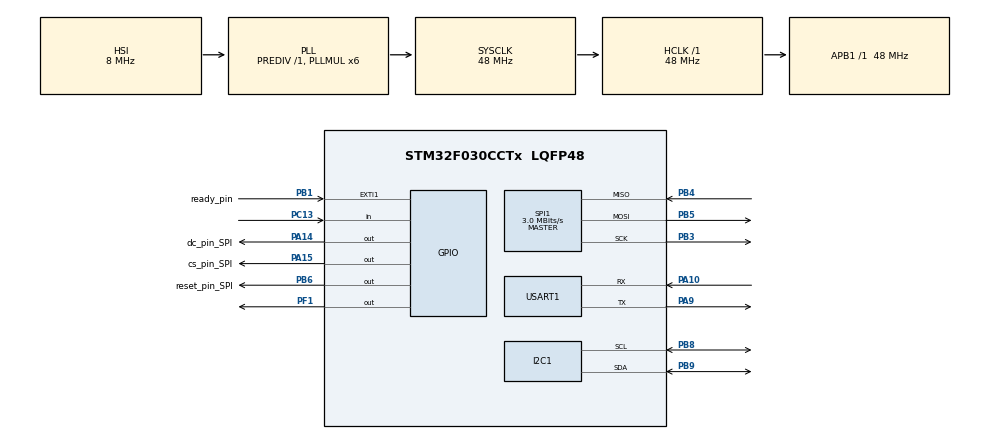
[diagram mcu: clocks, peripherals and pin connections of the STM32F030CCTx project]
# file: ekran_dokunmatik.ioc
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I2C1.Timing=0x00201D2B
Mcu.Family=STM32F0
Mcu.Name=STM32F030CCTx
Mcu.Package=LQFP48
PA10.Mode=Asynchronous
PA10.Signal=USART1_RX
PA14.GPIO_Label=dc_pin_SPI
PA14.Signal=GPIO_Output
PA15.GPIO_Label=cs_pin_SPI
PA15.GPIO_PuPd=GPIO_PULLUP
PA15.Signal=GPIO_Output
PA9.Mode=Asynchronous
PA9.Signal=USART1_TX
PB1.GPIO_Label=ready_pin
PB1.GPIO_ModeDefaultEXTI=GPIO_MODE_IT_FALLING
PB1.GPIO_PuPd=GPIO_PULLUP
PB1.Signal=GPXTI1
PB3.Mode=Full_Duplex_Master
PB3.Signal=SPI1_SCK
PB4.Mode=Full_Duplex_Master
PB4.Signal=SPI1_MISO
PB5.Mode=Full_Duplex_Master
PB5.Signal=SPI1_MOSI
PB6.GPIO_Label=reset_pin_SPI
PB6.GPIO_PuPd=GPIO_PULLUP
PB6.Signal=GPIO_Output
PB8.GPIO_Pu=GPIO_PULLUP
PB8.Mode=I2C
PB8.Signal=I2C1_SCL
PB9.GPIO_Pu=GPIO_PULLUP
PB9.Mode=I2C
PB9.Signal=I2C1_SDA
PC13.GPIO_PuPd=GPIO_PULLUP
PC13.Signal=GPIO_Input
PF1-OSC_OUT.GPIO_PuPd=GPIO_PULLUP
PF1-OSC_OUT.Signal=GPIO_Output
ProjectManager.HeapSize=0x200
ProjectManager.StackSize=0x400
ProjectManager.TargetToolchain=STM32CubeIDE
RCC.AHBFreq_Value=48000000
RCC.APB1Freq_Value=48000000
RCC.APB1TimFreq_Value=48000000
RCC.HCLKFreq_Value=48000000
RCC.PLLMUL=RCC_PLL_MUL6
RCC.SYSCLKFreq_VALUE=48000000
RCC.SYSCLKSource=RCC_SYSCLKSOURCE_PLLCLK
SPI1.BaudRatePrescaler=SPI_BAUDRATEPRESCALER_16
SPI1.CalculateBaudRate=3.0 MBits/s
SPI1.Direction=SPI_DIRECTION_2LINES
SPI1.Mode=SPI_MODE_MASTER
SPI1.VirtualType=VM_MASTER
USART1.VirtualMode-Asynchronous=VM_ASYNC
board=custom

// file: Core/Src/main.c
/* USER CODE BEGIN Header */
/**
  ******************************************************************************
  * @file           : main.c
  * @brief          : Main program body
  ******************************************************************************
  * @attention
  *
  * Copyright (c) 2025 STMicroelectronics.
  * All rights reserved.
  *
  * This software is licensed under terms that can be found in the LICENSE file
  * in the root directory of this software component.
  * If no LICENSE file comes with this software, it is provided AS-IS.
  *
  ******************************************************************************
  */
/* USER CODE END Header */
#include "main.h"

/* USER CODE BEGIN Includes */
#include <string.h>
#include "ST7735.h"
#include "IQS7222A.h"
#include "menu.h"

/* USER CODE END Includes */

/* USER CODE BEGIN PTD */
extern I2C_HandleTypeDef hi2c1;
extern SPI_HandleTypeDef hspi1;
extern UART_HandleTypeDef huart1;
/* USER CODE END PTD */

/* USER CODE BEGIN PD */

//#define RST_PORT GPIOB
//#define RST_PIN  GPIO_PIN_13

/* USER CODE END PD */

I2C_HandleTypeDef hi2c1;

SPI_HandleTypeDef hspi1;

UART_HandleTypeDef huart1;

void SystemClock_Config(void);
static void MX_GPIO_Init(void);
static void MX_SPI1_Init(void);
static void MX_USART1_UART_Init(void);
static void MX_I2C1_Init(void);

int main(void)
{

  /* MCU Configuration--------------------------------------------------------*/

  /* Reset of all peripherals, Initializes the Flash interface and the Systick. */
  HAL_Init();

  /* Configure the system clock */
  SystemClock_Config();

  /* Initialize all configured peripherals */
  MX_GPIO_Init();
  MX_SPI1_Init();
  MX_USART1_UART_Init();
  MX_I2C1_Init();
  /* USER CODE BEGIN 2 */

  ST7735_Init(1);

  IQS7222A_begin(0x44, GPIOB, GPIO_PIN_1);

  drawMenu(0);

  /* USER CODE END 2 */

  /* Infinite loop */
  /* USER CODE BEGIN WHILE */
  while (1)
  {

	  IQS7222A_run();

	  if(iqs7222a.new_data_available)
	  {
		  checkTouch();
	      iqs7222a.new_data_available = false;

	  }

  }

    /* USER CODE END WHILE */

}

void SystemClock_Config(void)
{
  RCC_OscInitTypeDef RCC_OscInitStruct = {0};
  RCC_ClkInitTypeDef RCC_ClkInitStruct = {0};
  RCC_PeriphCLKInitTypeDef PeriphClkInit = {0};

  /** Initializes the RCC Oscillators according to the specified parameters
  * in the RCC_OscInitTypeDef structure.
  */
  RCC_OscInitStruct.OscillatorType = RCC_OSCILLATORTYPE_HSI;
  RCC_OscInitStruct.HSIState = RCC_HSI_ON;
  RCC_OscInitStruct.HSICalibrationValue = RCC_HSICALIBRATION_DEFAULT;
  RCC_OscInitStruct.PLL.PLLState = RCC_PLL_ON;
  RCC_OscInitStruct.PLL.PLLSource = RCC_PLLSOURCE_HSI;
  RCC_OscInitStruct.PLL.PLLMUL = RCC_PLL_MUL6;
  RCC_OscInitStruct.PLL.PREDIV = RCC_PREDIV_DIV1;
  if (HAL_RCC_OscConfig(&RCC_OscInitStruct) != HAL_OK)
  {
    Error_Handler();
  }

  /** Initializes the CPU, AHB and APB buses clocks
  */
  RCC_ClkInitStruct.ClockType = RCC_CLOCKTYPE_HCLK|RCC_CLOCKTYPE_SYSCLK
                              |RCC_CLOCKTYPE_PCLK1;
  RCC_ClkInitStruct.SYSCLKSource = RCC_SYSCLKSOURCE_PLLCLK;
  RCC_ClkInitStruct.AHBCLKDivider = RCC_SYSCLK_DIV1;
  RCC_ClkInitStruct.APB1CLKDivider = RCC_HCLK_DIV1;

  if (HAL_RCC_ClockConfig(&RCC_ClkInitStruct, FLASH_LATENCY_1) != HAL_OK)
  {
    Error_Handler();
  }
  PeriphClkInit.PeriphClockSelection = RCC_PERIPHCLK_USART1|RCC_PERIPHCLK_I2C1;
  PeriphClkInit.Usart1ClockSelection = RCC_USART1CLKSOURCE_PCLK1;
  PeriphClkInit.I2c1ClockSelection = RCC_I2C1CLKSOURCE_HSI;
  if (HAL_RCCEx_PeriphCLKConfig(&PeriphClkInit) != HAL_OK)
  {
    Error_Handler();
  }
}

static void MX_I2C1_Init(void)
{

  hi2c1.Instance = I2C1;
  hi2c1.Init.Timing = 0x00201D2B;
  hi2c1.Init.OwnAddress1 = 0;
  hi2c1.Init.AddressingMode = I2C_ADDRESSINGMODE_7BIT;
  hi2c1.Init.DualAddressMode = I2C_DUALADDRESS_DISABLE;
  hi2c1.Init.OwnAddress2 = 0;
  hi2c1.Init.OwnAddress2Masks = I2C_OA2_NOMASK;
  hi2c1.Init.GeneralCallMode = I2C_GENERALCALL_DISABLE;
  hi2c1.Init.NoStretchMode = I2C_NOSTRETCH_DISABLE;
  if (HAL_I2C_Init(&hi2c1) != HAL_OK)
  {
    Error_Handler();
  }

  /** Configure Analogue filter
  */
  if (HAL_I2CEx_ConfigAnalogFilter(&hi2c1, I2C_ANALOGFILTER_ENABLE) != HAL_OK)
  {
    Error_Handler();
  }

  /** Configure Digital filter
  */
  if (HAL_I2CEx_ConfigDigitalFilter(&hi2c1, 0) != HAL_OK)
  {
    Error_Handler();
  }

}

static void MX_SPI1_Init(void)
{

  /* SPI1 parameter configuration*/
  hspi1.Instance = SPI1;
  hspi1.Init.Mode = SPI_MODE_MASTER;
  hspi1.Init.Direction = SPI_DIRECTION_2LINES;
  hspi1.Init.DataSize = SPI_DATASIZE_4BIT;
  hspi1.Init.CLKPolarity = SPI_POLARITY_LOW;
  hspi1.Init.CLKPhase = SPI_PHASE_1EDGE;
  hspi1.Init.NSS = SPI_NSS_SOFT;
  hspi1.Init.BaudRatePrescaler = SPI_BAUDRATEPRESCALER_16;
  hspi1.Init.FirstBit = SPI_FIRSTBIT_MSB;
  hspi1.Init.TIMode = SPI_TIMODE_DISABLE;
  hspi1.Init.CRCCalculation = SPI_CRCCALCULATION_DISABLE;
  hspi1.Init.CRCPolynomial = 7;
  hspi1.Init.CRCLength = SPI_CRC_LENGTH_DATASIZE;
  hspi1.Init.NSSPMode = SPI_NSS_PULSE_ENABLE;
  if (HAL_SPI_Init(&hspi1) != HAL_OK)
  {
    Error_Handler();
  }

}

static void MX_USART1_UART_Init(void)
{

  huart1.Instance = USART1;
  huart1.Init.BaudRate = 115200;
  huart1.Init.WordLength = UART_WORDLENGTH_8B;
  huart1.Init.StopBits = UART_STOPBITS_1;
  huart1.Init.Parity = UART_PARITY_NONE;
  huart1.Init.Mode = UART_MODE_TX_RX;
  huart1.Init.HwFlowCtl = UART_HWCONTROL_NONE;
  huart1.Init.OverSampling = UART_OVERSAMPLING_16;
  huart1.Init.OneBitSampling = UART_ONE_BIT_SAMPLE_DISABLE;
  huart1.AdvancedInit.AdvFeatureInit = UART_ADVFEATURE_NO_INIT;
  if (HAL_UART_Init(&huart1) != HAL_OK)
  {
    Error_Handler();
  }

}

static void MX_GPIO_Init(void)
{
  GPIO_InitTypeDef GPIO_InitStruct = {0};

  /* GPIO Ports Clock Enable */
  __HAL_RCC_GPIOC_CLK_ENABLE();
  __HAL_RCC_GPIOF_CLK_ENABLE();
  __HAL_RCC_GPIOB_CLK_ENABLE();
  __HAL_RCC_GPIOA_CLK_ENABLE();

  /*Configure GPIO pin Output Level */
  HAL_GPIO_WritePin(GPIOF, GPIO_PIN_1, GPIO_PIN_RESET);

  /*Configure GPIO pin Output Level */
  HAL_GPIO_WritePin(GPIOA, dc_pin_SPI_Pin|cs_pin_SPI_Pin, GPIO_PIN_RESET);

  /*Configure GPIO pin Output Level */
  HAL_GPIO_WritePin(reset_pin_SPI_GPIO_Port, reset_pin_SPI_Pin, GPIO_PIN_RESET);

  /*Configure GPIO pin : PC13 */
  GPIO_InitStruct.Pin = GPIO_PIN_13;
  GPIO_InitStruct.Mode = GPIO_MODE_INPUT;
  GPIO_InitStruct.Pull = GPIO_PULLUP;
  HAL_GPIO_Init(GPIOC, &GPIO_InitStruct);

  /*Configure GPIO pin : PF1 */
  GPIO_InitStruct.Pin = GPIO_PIN_1;
  GPIO_InitStruct.Mode = GPIO_MODE_OUTPUT_PP;
  GPIO_InitStruct.Pull = GPIO_PULLUP;
  GPIO_InitStruct.Speed = GPIO_SPEED_FREQ_LOW;
  HAL_GPIO_Init(GPIOF, &GPIO_InitStruct);

  /*Configure GPIO pin : ready_pin_Pin */
  GPIO_InitStruct.Pin = ready_pin_Pin;
  GPIO_InitStruct.Mode = GPIO_MODE_IT_FALLING;
  GPIO_InitStruct.Pull = GPIO_PULLUP;
  HAL_GPIO_Init(ready_pin_GPIO_Port, &GPIO_InitStruct);

  /*Configure GPIO pin : dc_pin_SPI_Pin */
  GPIO_InitStruct.Pin = dc_pin_SPI_Pin;
  GPIO_InitStruct.Mode = GPIO_MODE_OUTPUT_PP;
  GPIO_InitStruct.Pull = GPIO_NOPULL;
  GPIO_InitStruct.Speed = GPIO_SPEED_FREQ_LOW;
  HAL_GPIO_Init(dc_pin_SPI_GPIO_Port, &GPIO_InitStruct);

  /*Configure GPIO pin : cs_pin_SPI_Pin */
  GPIO_InitStruct.Pin = cs_pin_SPI_Pin;
  GPIO_InitStruct.Mode = GPIO_MODE_OUTPUT_PP;
  GPIO_InitStruct.Pull = GPIO_PULLUP;
  GPIO_InitStruct.Speed = GPIO_SPEED_FREQ_LOW;
  HAL_GPIO_Init(cs_pin_SPI_GPIO_Port, &GPIO_InitStruct);

  /*Configure GPIO pin : reset_pin_SPI_Pin */
  GPIO_InitStruct.Pin = reset_pin_SPI_Pin;
  GPIO_InitStruct.Mode = GPIO_MODE_OUTPUT_PP;
  GPIO_InitStruct.Pull = GPIO_PULLUP;
  GPIO_InitStruct.Speed = GPIO_SPEED_FREQ_LOW;
  HAL_GPIO_Init(reset_pin_SPI_GPIO_Port, &GPIO_InitStruct);

}

/* USER CODE BEGIN 4 */

void HAL_GPIO_EXTI_Callback(uint16_t GPIO_Pin)
{
    if (GPIO_Pin == GPIO_PIN_1) // IRQ pini
    {
    	iqs7222a_ready_interrupt();
    }
}

/* USER CODE END 4 */

void Error_Handler(void)
{
  __disable_irq();
  while (1)
  {
  }
}
